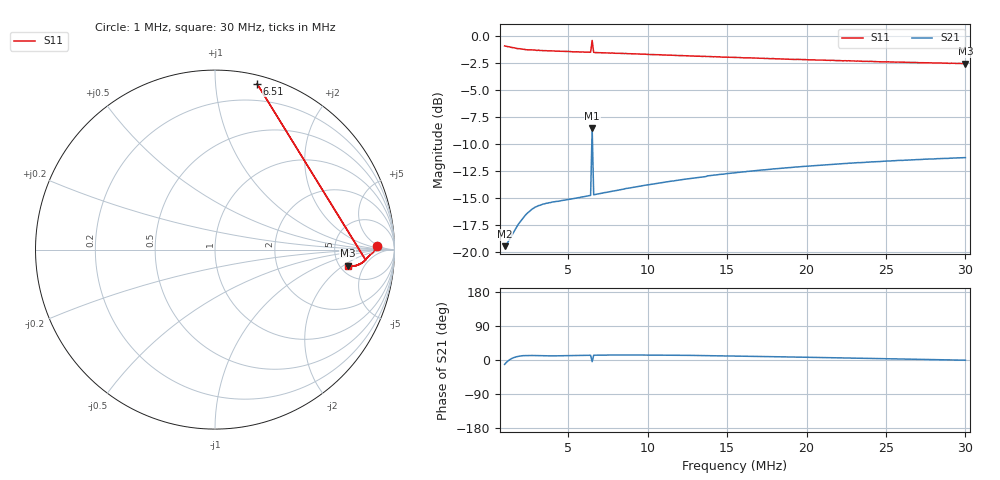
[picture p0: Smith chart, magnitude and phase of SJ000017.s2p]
!File created by NanoVNA-F V2
# Hz S RI R 50
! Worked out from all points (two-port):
!   301 points, 1 MHz to 30 MHz, reference 50 ohm
!   highest |S21| = -8.52 dB at 6.51 MHz (marker M1); lowest = -19.4 dB at 1 MHz (marker M2)
!   |S21| within 3 dB of the highest: 6.463 MHz to 6.557 MHz (93.89 kHz wide, 1.44 % of centre); 25.57 MHz to end of sweep
!   lowest |S11| = -2.6 dB at 30 MHz (marker M3), VSWR 6.86, Z = 293 - j119 ohm
!   |S11| at or under -10 dB: nowhere
!   S12 and S22 are empty: the file has one direction only
!   S11 on the Smith chart (normalised r, x): 1 MHz: 18, +3; 6.51 MHz: 0.06, +1.28; 30 MHz: 5.86, -2.39
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1000000  0.9003 0.0179  0.1047 -0.0216  0 0  0 0
1193332  0.894 0.00457  0.111 -0.00619  0 0  0 0
1483330  0.8844 -0.0114  0.1206 0.00972  0 0  0 0
1869994  0.8743 -0.0225  0.1333 0.0228  0 0  0 0
2063326  0.8703 -0.0255  0.1388 0.0269  0 0  0 0
2449990  0.8636 -0.0312  0.1491 0.0315  0 0  0 0
2643322  0.8625 -0.0292  0.1534 0.0325  0 0  0 0
2933320  0.8613 -0.0328  0.1588 0.0326  0 0  0 0
3029986  0.8571 -0.0352  0.1598 0.0325  0 0  0 0
3126652  0.8596 -0.0362  0.1613 0.0324  0 0  0 0
3609982  0.8554 -0.039  0.1657 0.0319  0 0  0 0
5833300  0.8429 -0.0519  0.1763 0.0377  0 0  0 0
6413296  0.8401 -0.0572  0.1793 0.0396  0 0  0 0
6509962  0.2335 0.9253  0.3739 -0.0289  0 0  0 0
6606628  0.8384 -0.0586  0.1803 0.0403  0 0  0 0
1.06666e7  0.8166 -0.0759  0.2036 0.0469  0 0  0 0
1.375991e7  0.8006 -0.0838  0.2214 0.0445  0 0  0 0
1.54999e7  0.7921 -0.0872  0.2297 0.0419  0 0  0 0
2.03332e7  0.7711 -0.0913  0.2495 0.0303  0 0  0 0
2.216985e7  0.7638 -0.094  0.2557 0.0251  0 0  0 0
2.51665e7  0.7551 -0.0917  0.2644 0.0146  0 0  0 0
2.99998e7  0.7401 -0.0904  0.2743 -0.00275  0 0  0 0
